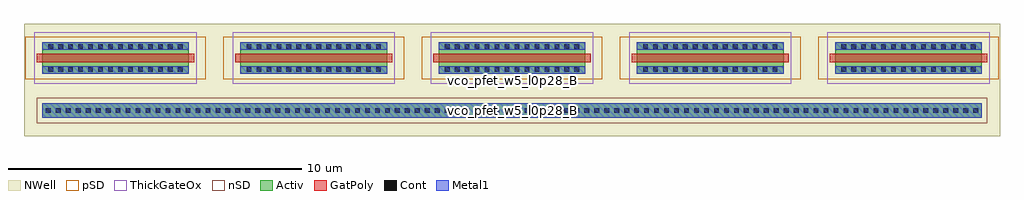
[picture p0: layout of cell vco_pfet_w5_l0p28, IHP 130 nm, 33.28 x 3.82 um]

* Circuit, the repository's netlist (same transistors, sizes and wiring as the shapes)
* extracted by klt extract --deck sg13cmos5l

* cell vco_pfet_w5_l0p28
* pin VDD_VCO
.SUBCKT vco_pfet_w5_l0p28 VDD_VCO
* device instance $1 r0 *1 3.8,3 pfet
X$1 \$12 \$2 \$3 VDD_VCO sg13_hv_pmos L=0.28U W=5U AS=2P AD=2P PS=10.8U PD=10.8U
* device instance $2 r0 *1 10.76,3 pfet
X$2 \$13 \$4 \$5 VDD_VCO sg13_hv_pmos L=0.28U W=5U AS=2P AD=2P PS=10.8U PD=10.8U
* device instance $3 r0 *1 17.72,3 pfet
X$3 \$14 \$6 \$7 VDD_VCO sg13_hv_pmos L=0.28U W=5U AS=2P AD=2P PS=10.8U PD=10.8U
* device instance $4 r0 *1 24.68,3 pfet
X$4 \$15 \$8 \$9 VDD_VCO sg13_hv_pmos L=0.28U W=5U AS=2P AD=2P PS=10.8U PD=10.8U
* device instance $5 r0 *1 31.64,3 pfet
X$5 \$16 \$10 \$11 VDD_VCO sg13_hv_pmos L=0.28U W=5U AS=2P AD=2P PS=10.8U
+ PD=10.8U
.ENDS vco_pfet_w5_l0p28

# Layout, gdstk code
import gdstk
lib = gdstk.Library(unit=1e-6, precision=1e-09)
def R(c, l, rs):  # rectangles x0, y0, x1, y1
    for r in rs: c.add(gdstk.rectangle(r[:2], r[2:], *l))
def A(c, l, x, y, w, h, nx, ny, dx, dy):  # array of equal rectangles
    R(c, l, [(x+i*dx, y+j*dy, x+i*dx+w, y+j*dy+h) for i in range(nx) for j in range(ny)])
Activ = (1, 0)
GatPoly = (5, 0)
Cont = (6, 0)
nSD = (7, 0)
Metal1 = (8, 0)
pSD = (14, 0)
NWell = (31, 0)
ThickGateOx = (44, 0)

vco_pfet_w5_l0p28 = lib.new_cell('vco_pfet_w5_l0p28')
A(vco_pfet_w5_l0p28, Activ, 1.2, 2.46, 5, 1.08, 5, 1, 6.76, 0)
R(vco_pfet_w5_l0p28, Activ, [(1.2,0.96,33.24,1.46)])
A(vco_pfet_w5_l0p28, GatPoly, 1.02, 2.86, 5.36, 0.28, 5, 1, 6.76, 0)
A(vco_pfet_w5_l0p28, Cont, 1.33, 1.13, 0.16, 0.16, 94, 1, 0.34, 0)
A(vco_pfet_w5_l0p28, Cont, 1.41, 2.53, 0.16, 0.16, 14, 2, 0.34, 0.78)
A(vco_pfet_w5_l0p28, Cont, 8.17, 2.53, 0.16, 0.16, 14, 2, 0.34, 0.78)
A(vco_pfet_w5_l0p28, Cont, 14.93, 2.53, 0.16, 0.16, 14, 2, 0.34, 0.78)
A(vco_pfet_w5_l0p28, Cont, 21.69, 2.53, 0.16, 0.16, 14, 2, 0.34, 0.78)
A(vco_pfet_w5_l0p28, Cont, 28.45, 2.53, 0.16, 0.16, 14, 2, 0.34, 0.78)
R(vco_pfet_w5_l0p28, nSD, [(1.02,0.78,33.42,1.64)])
A(vco_pfet_w5_l0p28, Metal1, 1.2, 2.46, 5, 0.26, 5, 2, 6.76, 0.82)
R(vco_pfet_w5_l0p28, Metal1, [(1.2,0.96,33.24,1.46)])
A(vco_pfet_w5_l0p28, pSD, 0.62, 2.28, 6.16, 1.44, 5, 1, 6.76, 0)
R(vco_pfet_w5_l0p28, NWell, [(0.58,0.34,33.86,4.16)])
A(vco_pfet_w5_l0p28, ThickGateOx, 0.93, 2.12, 5.54, 1.76, 5, 1, 6.76, 0)
vco_pfet_w5_l0p28.add(gdstk.Label('vco_pfet_w5_l0p28_B', (17.22,1.21), layer=8, texttype=2))
vco_pfet_w5_l0p28.add(gdstk.Label('vco_pfet_w5_l0p28_B', (17.22,2.25), layer=31, texttype=2))

lib.write_gds('vco_pfet_w5_l0p28.gds')
